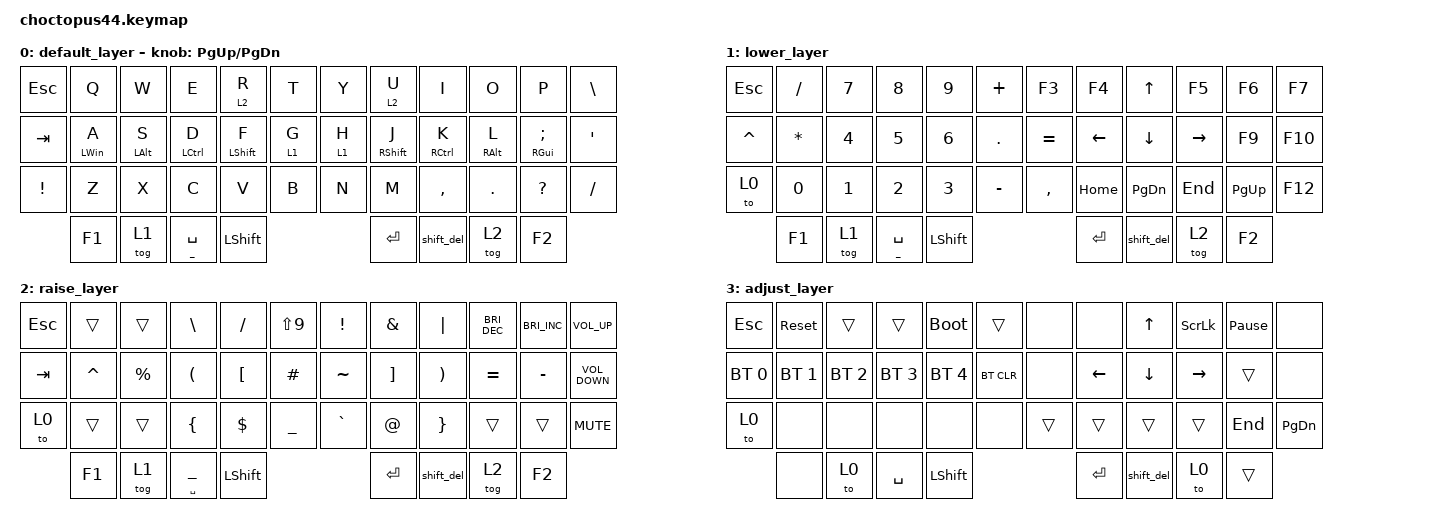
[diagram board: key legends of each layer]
/*
 * Copyright (c) 2021 The ZMK Contributors
 *
 * SPDX-License-Identifier: MIT
 */

#include <behaviors.dtsi>
#include <dt-bindings/zmk/bt.h>
#include <dt-bindings/zmk/keys.h>

&mt {
    tapping-term-ms = <300>;
    retro-tap;
    hold-while-undecided;
    flavor = "balanced";
};

/ {
    behaviors {
        shift_del: shift_del {
            compatible = "zmk,behavior-mod-morph";
            label = "SHIFT_DEL";
            bindings = <&kp BACKSPACE>, <&kp DELETE>;

            #binding-cells = <0>;
            mods = <(MOD_RSFT|MOD_LSFT)>;
        };
    };

    combos {
        compatible = "zmk,combos";

        tobt {
            bindings = <&to 3>;
            key-positions = <42 37>;
        };
    };

    keymap {
        compatible = "zmk,keymap";

        default_layer {
            bindings = <
&kp ESC          &kp Q           &kp W           &kp E            &lt 2 R           &kp T         &kp Y    &lt 2 U            &kp I        &kp O            &kp P               &kp BACKSLASH
&kp TAB          &mt LEFT_WIN A  &mt LEFT_ALT S  &mt LCTRL D      &mt LEFT_SHIFT F  &lt 1 G       &lt 1 H  &mt RIGHT_SHIFT J  &mt RCTRL K  &mt RIGHT_ALT L  &mt RIGHT_GUI SEMI  &kp SQT
&kp EXCLAMATION  &kp Z           &kp X           &kp C            &kp V             &kp B         &kp N    &kp M              &kp COMMA    &kp PERIOD       &kp QUESTION        &kp FSLH
                 &kp F1          &tog 1          &mt UNDER SPACE  &kp LSHFT                              &kp ENTER          &shift_del   &tog 2           &kp F2
            >;
            sensor-bindings = <&inc_dec_kp PG_UP PG_DN>;

        };

        lower_layer {
            bindings = <
&kp ESCAPE  &kp SLASH  &kp N7  &kp N8           &kp N9     &kp PLUS      &kp F3     &kp F4          &kp UP_ARROW    &kp F5     &kp F6       &kp F7
&kp CARET   &kp STAR   &kp N4  &kp N5           &kp N6     &kp PERIOD    &kp EQUAL  &kp LEFT_ARROW  &kp DOWN_ARROW  &kp RIGHT  &kp F9       &kp F10
&to 0       &kp N0     &kp N1  &kp N2           &kp N3     &kp MINUS     &kp COMMA  &kp HOME        &kp PAGE_DOWN   &kp END    &kp PAGE_UP  &kp F12
            &kp F1     &tog 1  &mt UNDER SPACE  &kp LSHFT                           &kp ENTER       &shift_del      &tog 2     &kp F2
            >;
//            sensor-bindings = <&inc_dec_kp UP DOWN>;

        };

        raise_layer {
            bindings = <
&kp ESCAPE  &trans     &trans       &kp BACKSLASH         &kp SLASH         &kp LS(N9)    &kp EXCL   &kp AMPERSAND      &kp PIPE               &kp C_BRIGHTNESS_DEC  &kp C_BRIGHTNESS_INC  &kp K_VOLUME_UP
&kp TAB     &kp CARET  &kp PERCENT  &kp LEFT_PARENTHESIS  &kp LEFT_BRACKET  &kp HASH      &kp TILDE  &kp RIGHT_BRACKET  &kp RIGHT_PARENTHESIS  &kp EQUAL             &kp MINUS             &kp K_VOLUME_DOWN
&to 0       &trans     &trans       &kp LEFT_BRACE        &kp DOLLAR        &kp UNDER     &kp GRAVE  &kp AT             &kp RIGHT_BRACE        &trans                &trans                &kp C_MUTE
            &kp F1     &tog 1       &mt SPACE UNDER       &kp LSHFT                                  &kp ENTER          &shift_del             &tog 2                &kp F2
            >;

//            sensor-bindings = <&inc_dec_kp LEFT RIGHT>;

        };

        adjust_layer {
            bindings = <
&kp ESCAPE    &sys_reset    &trans        &trans        &bootloader     &trans        &none   &none      &kp UP_ARROW  &kp SLCK   &kp PAUSE_BREAK  &none
&bt BT_SEL 0  &bt BT_SEL 1  &bt BT_SEL 2  &bt BT_SEL 3  &bt BT_SEL 4    &bt BT_CLR    &none   &kp LEFT   &kp DOWN      &kp RIGHT  &trans           &none
&to 0         &none         &none         &none         &none           &none         &trans  &trans     &trans        &trans     &kp END          &kp PG_DN
              &none         &to 0         &kp SPACE     &kp LEFT_SHIFT                        &kp ENTER  &shift_del    &to 0      &trans
            >;

//            sensor-bindings = <&inc_dec_kp C_VOL_DN C_VOL_UP>;
        };
    };
};
